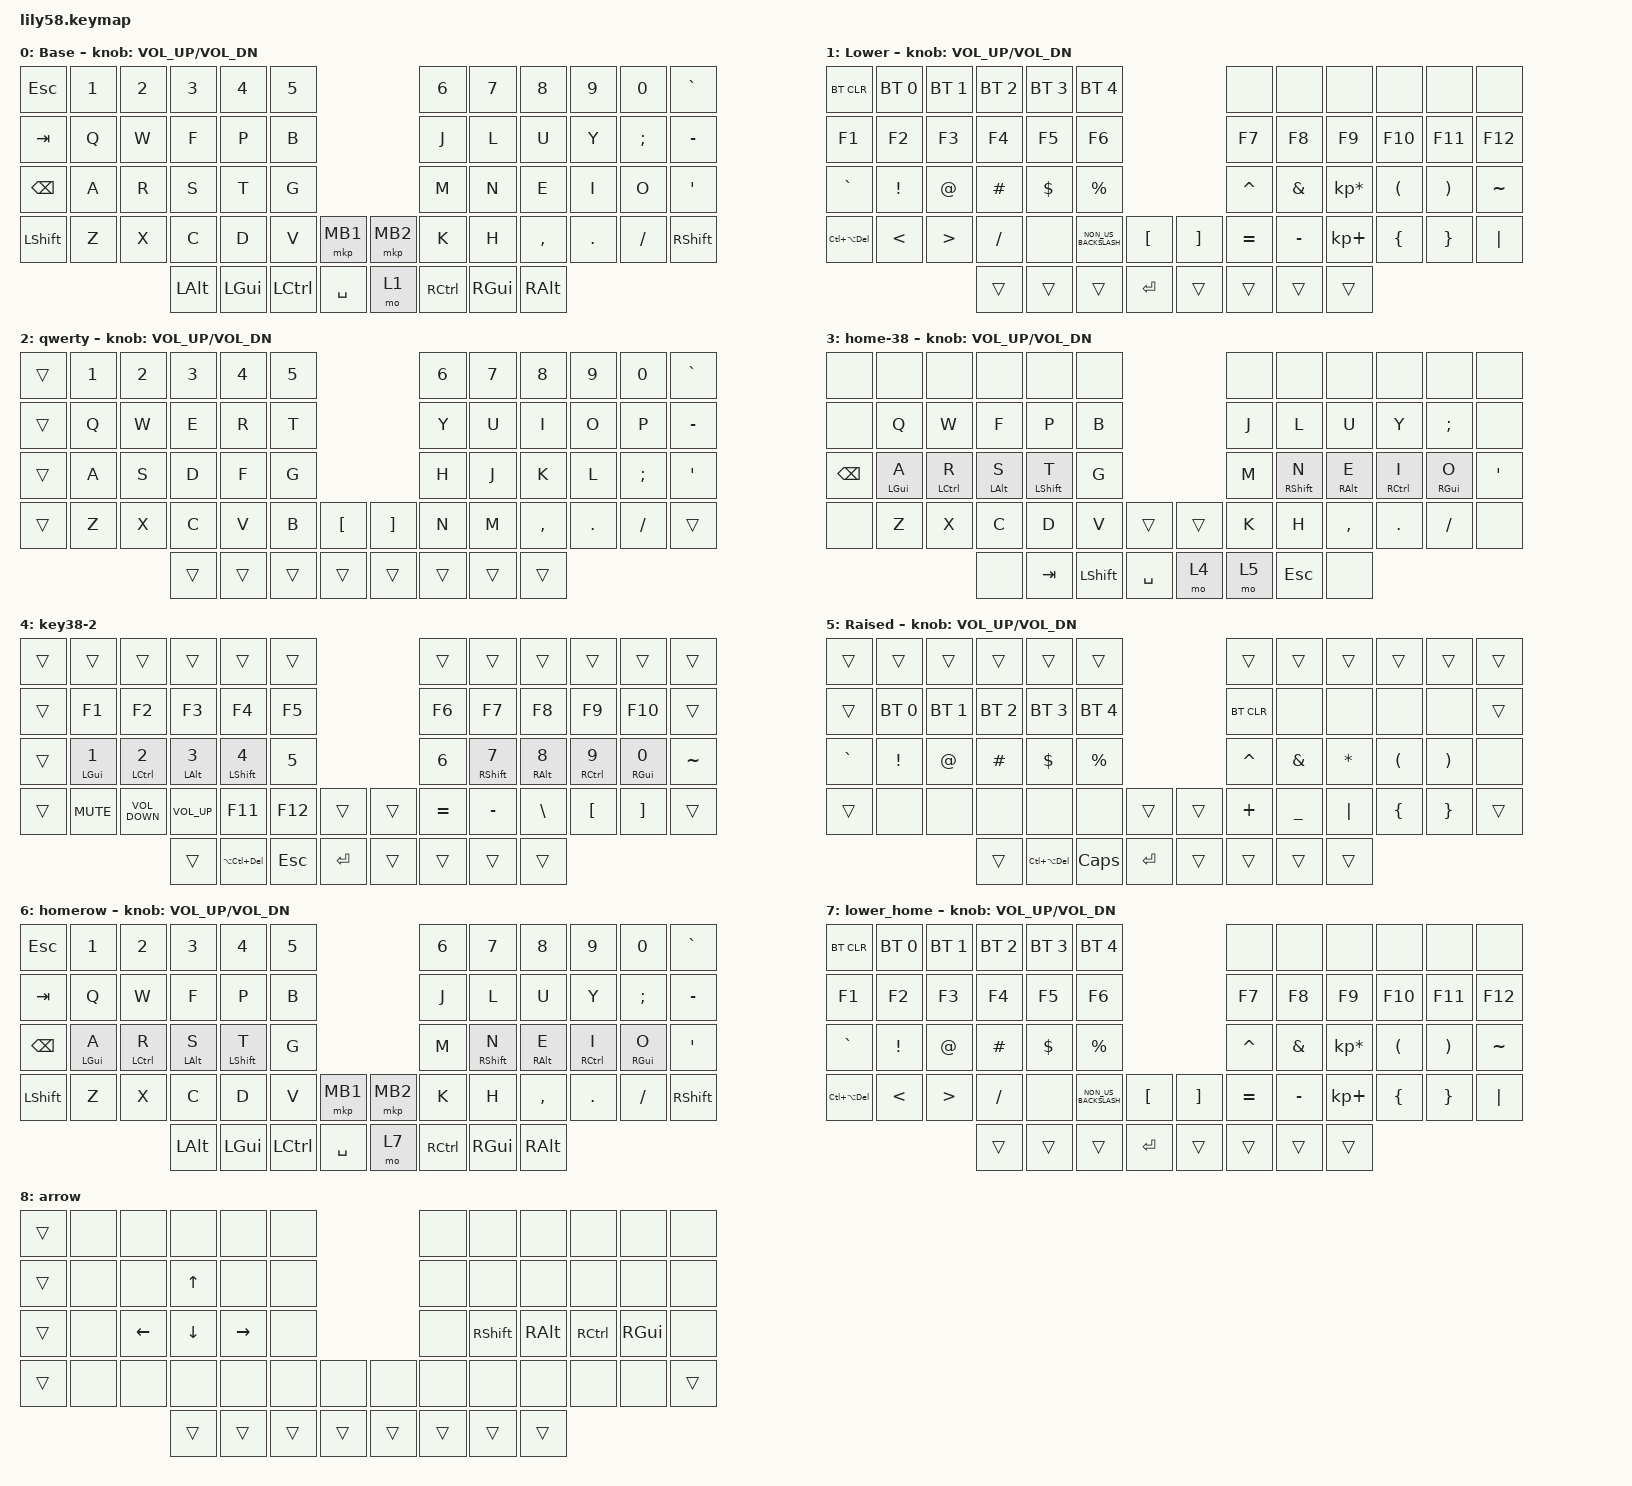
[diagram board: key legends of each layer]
/*
 * Copyright (c) 2020 The ZMK Contributors
 *
 * SPDX-License-Identifier: MIT
 */

#define ZMK_POINTING_DEFAULT_MOVE_VAL 1200  // default: 600
#define ZMK_POINTING_DEFAULT_SCRL_VAL 20    // default: 10

#include <behaviors.dtsi>
#include <dt-bindings/zmk/bt.h>
#include <dt-bindings/zmk/keys.h>
#include <dt-bindings/zmk/pointing.h>

&mmv { time-to-max-speed-ms = <150>; };

/ {
    combos {
        compatible = "zmk,combos";

        qwertyToggle {
            bindings = <&tog 2>;
            key-positions = <43 42>;
        };

        arrowHold {
            bindings = <&mo 8>;
            key-positions = <53 54>;
        };

        toggleHomerow {
            bindings = <&tog 3>;
            key-positions = <53 54 42>;
        };

        // S+T / R+S are common Colemak digraphs — keep combos deliberate:
        // short overlap window + prior-idle so mid-typing rolls never click.
        m1 {
            bindings = <&mkp MB1>;
            key-positions = <28 27>;
            timeout-ms = <30>;
            require-prior-idle-ms = <180>;
        };

        m2 {
            bindings = <&mkp MB2>;
            key-positions = <27 26>;
            timeout-ms = <30>;
            require-prior-idle-ms = <180>;
        };

        homeroomToggle {
            bindings = <&tog 6>;
            key-positions = <43 54 53>;
        };
    };

    behaviors {
        // Timeless HRMs tuned for ~70 WPM (bursts ~115).
        // require-prior-idle ≈ 10500/WPM → ~150ms min; 180 biases toward taps mid-word
        // (covers relaxed gaps and same-hand rolls like "ion" after a slight pause).
        // tapping-term 280 so 3-key rolls can finish before undecided keys time out
        // under hold-trigger-on-release.
        // Left mods only hold for right-hand keys (and vice versa).

        hml: home_row_mod_left {
            compatible = "zmk,behavior-hold-tap";
            #binding-cells = <2>;
            flavor = "balanced";
            tapping-term-ms = <280>;
            quick-tap-ms = <175>;
            require-prior-idle-ms = <180>;
            bindings = <&kp>, <&kp>;
            hold-trigger-key-positions = <6 7 8 9 10 11 18 19 20 21 22 23 30 31 32 33 34 35 43 44 45 46 47 48 49 54 55 56 57>;
            hold-trigger-on-release;
        };

        hmr: home_row_mod_right {
            compatible = "zmk,behavior-hold-tap";
            #binding-cells = <2>;
            flavor = "balanced";
            tapping-term-ms = <280>;
            quick-tap-ms = <175>;
            require-prior-idle-ms = <180>;
            bindings = <&kp>, <&kp>;
            hold-trigger-key-positions = <0 1 2 3 4 5 12 13 14 15 16 17 24 25 26 27 28 29 36 37 38 39 40 41 42 50 51 52 53>;
            hold-trigger-on-release;
        };

        // Index-finger Shift: less eager than other mods.
        // hold-trigger-on-release is required — without it, fast "th" (as in "the")
        // makes T→Shift the moment H lands → "He".
        // Quick cross-hand taps stay letters; dwell on the letter (or hold Shift
        // past tapping-term) for capitals. Prefer thumb/pinky Shift for snappy caps.

        hsl: home_row_shift_left {
            compatible = "zmk,behavior-hold-tap";
            #binding-cells = <2>;
            flavor = "hold-preferred";
            tapping-term-ms = <280>;
            quick-tap-ms = <175>;
            require-prior-idle-ms = <200>;
            bindings = <&kp>, <&kp>;
            hold-trigger-key-positions = <6 7 8 9 10 11 18 19 20 21 22 23 30 31 32 33 34 35 43 44 45 46 47 48 49 54 55 56 57>;
            hold-trigger-on-release;
        };

        hsr: home_row_shift_right {
            compatible = "zmk,behavior-hold-tap";
            #binding-cells = <2>;
            flavor = "hold-preferred";
            tapping-term-ms = <280>;
            quick-tap-ms = <175>;
            require-prior-idle-ms = <200>;
            bindings = <&kp>, <&kp>;
            hold-trigger-key-positions = <0 1 2 3 4 5 12 13 14 15 16 17 24 25 26 27 28 29 36 37 38 39 40 41 42 50 51 52 53>;
            hold-trigger-on-release;
        };
    };

    keymap {
        compatible = "zmk,keymap";

        base {
            // ------------------------------------------------------------------------------------------------------------
            // |  ESC  |  1  |  2  |  3   |  4   |  5   |                   |  6   |  7    |  8    |  9   |   0   |   `   |
            // |  TAB  |  Q  |  W  |  E   |  R   |  T   |                   |  Y   |  U    |  I    |  O   |   P   |   -   |
            // |  CTRL |  A  |  S  |  D   |  F   |  G   |                   |  H   |  J    |  K    |  L   |   ;   |   '   |
            // | SHIFT |  Z  |  X  |  C   |  V   |  B   |   "["  |  |  "]"  |  N   |  M    |  ,    |  .   |   /   | SHIFT |
            //                     | ALT  | GUI  | LOWER|  SPACE |  | ENTER | RAISE| BSPC  | GUI   |

            display-name = "Base";
            bindings = <
&kp ESCAPE      &kp N1  &kp N2  &kp N3        &kp N4        &kp N5                                   &kp N6             &kp N7         &kp N8         &kp N9   &kp N0         &kp GRAVE
&kp TAB         &kp Q   &kp W   &kp F         &kp P         &kp B                                    &kp J              &kp L          &kp U          &kp Y    &kp SEMICOLON  &kp MINUS
&kp BACKSPACE   &kp A   &kp R   &kp S         &kp T         &kp G                                    &kp M              &kp N          &kp E          &kp I    &kp O          &kp SQT
&kp LEFT_SHIFT  &kp Z   &kp X   &kp C         &kp D         &kp V             &mkp MB1     &mkp MB2  &kp K              &kp H          &kp COMMA      &kp DOT  &kp FSLH       &kp RIGHT_SHIFT
                                &kp LEFT_ALT  &kp LEFT_GUI  &kp LEFT_CONTROL  &kp SPACE    &mo 1     &kp RIGHT_CONTROL  &kp RIGHT_GUI  &kp RIGHT_ALT
            >;

            sensor-bindings = <&inc_dec_kp C_VOL_UP C_VOL_DN>;
        };

        lower_layer {
            // ------------------------------------------------------------------------------------------------------------
            // | BTCLR | BT1 | BT2 |  BT3 |  BT4 |  BT5 |                   |      |       |       |      |       |       |
            // |  F1   |  F2 |  F3 |  F4  |  F5  |  F6  |                   |  F7  |  F8   |  F9   |  F10 |  F11  |  F12  |
            // |   `   |  !  |  @  |  #   |  $   |  %   |                   |  ^   |  &    |  *    |  (   |   )   |   ~   |
            // |       |     |     |      |      |      |        |  |       |      |  _    |  +    |  {   |   }   |  "|"  |
            //                     |      |      |      |        |  |       |      |       |       |

            display-name = "Lower";
            bindings = <
&bt BT_CLR       &bt BT_SEL 0   &bt BT_SEL 1      &bt BT_SEL 2  &bt BT_SEL 3  &bt BT_SEL 4                                        &none      &none      &none            &none     &none     &none
&kp F1           &kp F2         &kp F3            &kp F4        &kp F5        &kp F6                                              &kp F7     &kp F8     &kp F9           &kp F10   &kp F11   &kp F12
&kp GRAVE        &kp EXCL       &kp AT            &kp HASH      &kp DOLLAR    &kp PRCNT                                           &kp CARET  &kp AMPS   &kp KP_MULTIPLY  &kp LPAR  &kp RPAR  &kp TILDE
&kp LC(LA(DEL))  &kp LESS_THAN  &kp GREATER_THAN  &kp SLASH     &none         &kp NON_US_BACKSLASH  &kp LEFT_BRACKET    &kp RBKT  &kp EQUAL  &kp MINUS  &kp KP_PLUS      &kp LBRC  &kp RBRC  &kp PIPE
                                                  &trans        &trans        &trans                &kp ENTER           &trans    &trans     &trans     &trans
            >;

            sensor-bindings = <&inc_dec_kp C_VOL_UP C_VOL_DN>;
        };

        qwerty {
            display-name = "qwerty";
            bindings = <
&trans  &kp N1  &kp N2  &kp N3  &kp N4  &kp N5                        &kp N6  &kp N7  &kp N8     &kp N9   &kp N0    &kp GRAVE
&trans  &kp Q   &kp W   &kp E   &kp R   &kp T                         &kp Y   &kp U   &kp I      &kp O    &kp P     &kp MINUS
&trans  &kp A   &kp S   &kp D   &kp F   &kp G                         &kp H   &kp J   &kp K      &kp L    &kp SEMI  &kp SQT
&trans  &kp Z   &kp X   &kp C   &kp V   &kp B   &kp LBKT    &kp RBKT  &kp N   &kp M   &kp COMMA  &kp DOT  &kp FSLH  &trans
                        &trans  &trans  &trans  &trans      &trans    &trans  &trans  &trans
            >;

            sensor-bindings = <&inc_dec_kp C_VOL_UP C_VOL_DN>;
        };

        homerow+key38 {
            display-name = "home-38";
            bindings = <
&none          &none            &none                &none            &none              &none                                &none  &none               &none             &none         &none             &none
&none          &kp Q            &kp W                &kp F            &kp P              &kp B                                &kp J  &kp L               &kp U             &kp Y         &kp SEMICOLON     &none
&kp BACKSPACE  &hml LEFT_GUI A  &hml LEFT_CONTROL R  &hml LEFT_ALT S  &hsl LEFT_SHIFT T  &kp G                                &kp M  &hsr RIGHT_SHIFT N  &hmr RIGHT_ALT E  &hmr RCTRL I  &hmr RIGHT_GUI O  &kp SQT
&none          &kp Z            &kp X                &kp C            &kp D              &kp V           &trans       &trans  &kp K  &kp H               &kp COMMA         &kp DOT       &kp FSLH          &none
                                                     &none            &kp TAB            &kp LEFT_SHIFT  &kp SPACE    &mo 4   &mo 5  &kp ESC             &none
            >;

            sensor-bindings = <&inc_dec_kp C_VOL_UP C_VOL_DN>;
        };

        key38-2 {
            bindings = <
&trans  &trans                  &trans               &trans                  &trans                    &trans                           &trans     &trans                     &trans                   &trans               &trans                   &trans
&trans  &kp F1                  &kp F2               &kp F3                  &kp F4                    &kp F5                           &kp F6     &kp F7                     &kp F8                   &kp F9               &kp F10                  &trans
&trans  &hml LEFT_GUI NUMBER_1  &hml LCTRL NUMBER_2  &hml LEFT_ALT NUMBER_3  &hsl LEFT_SHIFT NUMBER_4  &kp N5                           &kp N6     &hsr RIGHT_SHIFT NUMBER_7  &hmr RIGHT_ALT NUMBER_8  &hmr RCTRL NUMBER_9  &hmr RIGHT_GUI NUMBER_0  &kp TILDE
&trans  &kp K_MUTE              &kp K_VOLUME_DOWN    &kp K_VOLUME_UP         &kp F11                   &kp F12     &trans       &trans  &kp EQUAL  &kp MINUS                  &kp BACKSLASH            &kp LBKT             &kp RBKT                 &trans
                                                     &trans                  &kp LA(LC(DELETE))        &kp ESCAPE  &kp ENTER    &trans  &trans     &trans                     &trans
            >;
        };

        key38-3 {
            display-name = "Raised";
            bindings = <
&trans     &trans        &trans        &trans        &trans              &trans                             &trans      &trans     &trans        &trans    &trans    &trans
&trans     &bt BT_SEL 0  &bt BT_SEL 1  &bt BT_SEL 2  &bt BT_SEL 3        &bt BT_SEL 4                       &bt BT_CLR  &none      &none         &none     &none     &trans
&kp GRAVE  &kp EXCL      &kp AT        &kp HASH      &kp DOLLAR          &kp PRCNT                          &kp CARET   &kp AMPS   &kp ASTERISK  &kp LPAR  &kp RPAR  &none
&trans     &none         &none         &none         &none               &none         &trans       &trans  &kp PLUS    &kp UNDER  &kp PIPE      &kp LBRC  &kp RBRC  &trans
                                       &trans        &kp LC(LA(DELETE))  &kp CAPS      &kp ENTER    &trans  &trans      &trans     &trans
            >;

            sensor-bindings = <&inc_dec_kp C_VOL_UP C_VOL_DN>;
        };

        base+homerow {
            display-name = "homerow";
            bindings = <
&kp ESCAPE      &kp N1           &kp N2        &kp N3           &kp N4             &kp N5                                   &kp N6             &kp N7              &kp N8            &kp N9        &kp N0            &kp GRAVE
&kp TAB         &kp Q            &kp W         &kp F            &kp P              &kp B                                    &kp J              &kp L               &kp U             &kp Y         &kp SEMICOLON     &kp MINUS
&kp BACKSPACE   &hml LEFT_GUI A  &hml LCTRL R  &hml LEFT_ALT S  &hsl LEFT_SHIFT T  &kp G                                    &kp M              &hsr RIGHT_SHIFT N  &hmr RIGHT_ALT E  &hmr RCTRL I  &hmr RIGHT_GUI O  &kp SQT
&kp LEFT_SHIFT  &kp Z            &kp X         &kp C            &kp D              &kp V             &mkp MB1     &mkp MB2  &kp K              &kp H               &kp COMMA         &kp DOT       &kp FSLH          &kp RIGHT_SHIFT
                                               &kp LEFT_ALT     &kp LEFT_GUI       &kp LEFT_CONTROL  &kp SPACE    &mo 7     &kp RIGHT_CONTROL  &kp RIGHT_GUI       &kp RIGHT_ALT
            >;

            sensor-bindings = <&inc_dec_kp C_VOL_UP C_VOL_DN>;
        };

        lower_copy {
            display-name = "lower_home";
            bindings = <
&bt BT_CLR       &bt BT_SEL 0   &bt BT_SEL 1      &bt BT_SEL 2  &bt BT_SEL 3  &bt BT_SEL 4                                        &none      &none      &none            &none     &none     &none
&kp F1           &kp F2         &kp F3            &kp F4        &kp F5        &kp F6                                              &kp F7     &kp F8     &kp F9           &kp F10   &kp F11   &kp F12
&kp GRAVE        &kp EXCL       &kp AT            &kp HASH      &kp DOLLAR    &kp PRCNT                                           &kp CARET  &kp AMPS   &kp KP_MULTIPLY  &kp LPAR  &kp RPAR  &kp TILDE
&kp LC(LA(DEL))  &kp LESS_THAN  &kp GREATER_THAN  &kp SLASH     &none         &kp NON_US_BACKSLASH  &kp LEFT_BRACKET    &kp RBKT  &kp EQUAL  &kp MINUS  &kp KP_PLUS      &kp LBRC  &kp RBRC  &kp PIPE
                                                  &trans        &trans        &trans                &kp ENTER           &trans    &trans     &trans     &trans
            >;

            sensor-bindings = <&inc_dec_kp C_VOL_UP C_VOL_DN>;
        };

        Arrow {
            display-name = "arrow";
            bindings = <
&trans  &none  &none           &none           &none      &none                     &none   &none            &none          &none      &none          &none
&trans  &none  &none           &kp UP_ARROW    &none      &none                     &none   &none            &none          &none      &none          &none
&trans  &none  &kp LEFT_ARROW  &kp DOWN_ARROW  &kp RIGHT  &none                     &none   &kp RIGHT_SHIFT  &kp RIGHT_ALT  &kp RCTRL  &kp RIGHT_GUI  &none
&trans  &none  &none           &none           &none      &none   &none     &none   &none   &none            &none          &none      &none          &trans
                               &trans          &trans     &trans  &trans    &trans  &trans  &trans           &trans
            >;
        };
    };
};
